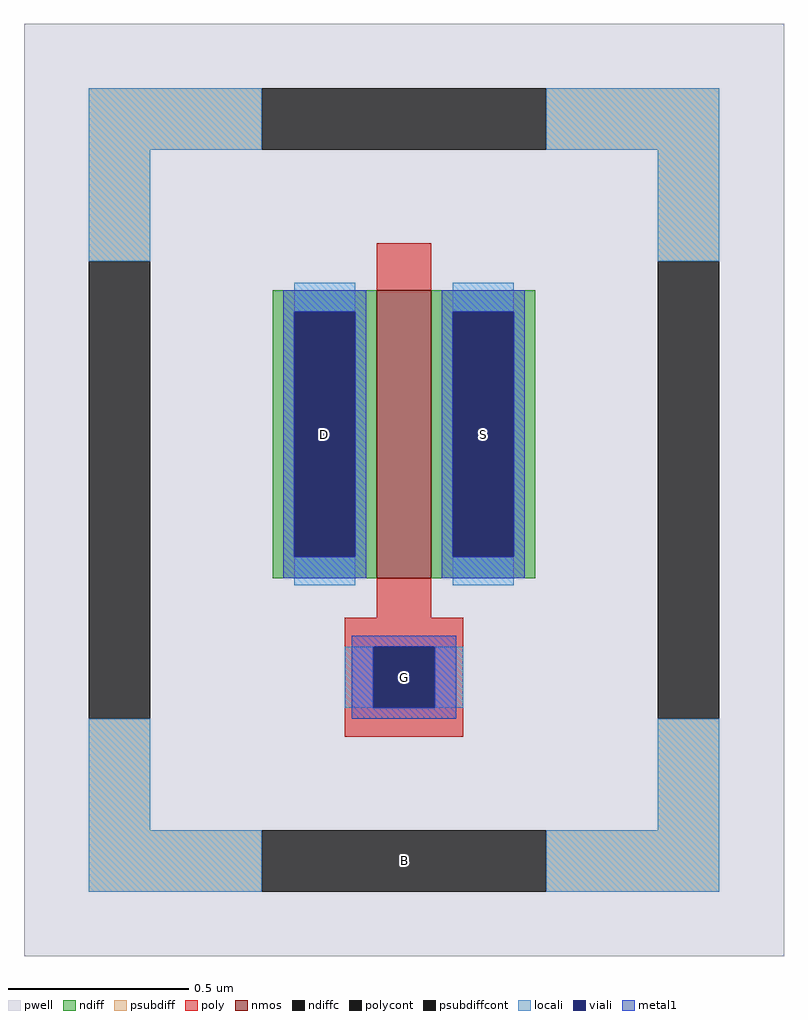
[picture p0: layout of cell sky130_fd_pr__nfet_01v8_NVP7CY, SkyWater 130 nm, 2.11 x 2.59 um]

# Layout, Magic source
magic
tech sky130A
magscale 1 2
<< pwell >>
rect -211 -259 211 259
<< nmos >>
rect -15 -49 15 111
<< ndiff >>
rect -73 99 -15 111
rect -73 -37 -61 99
rect -27 -37 -15 99
rect -73 -49 -15 -37
rect 15 99 73 111
rect 15 -37 27 99
rect 61 -37 73 99
rect 15 -49 73 -37
<< ndiffc >>
rect -61 -37 -27 99
rect 27 -37 61 99
<< psubdiff >>
rect -175 189 -79 223
rect 79 189 175 223
rect -175 127 -141 189
rect 141 127 175 189
rect -175 -189 -141 -127
rect 141 -189 175 -127
rect -175 -223 -79 -189
rect 79 -223 175 -189
<< psubdiffcont >>
rect -79 189 79 223
rect -175 -127 -141 127
rect 141 -127 175 127
rect -79 -223 79 -189
<< poly >>
rect -15 111 15 137
rect -15 -71 15 -49
rect -33 -87 33 -71
rect -33 -121 -17 -87
rect 17 -121 33 -87
rect -33 -137 33 -121
<< polycont >>
rect -17 -121 17 -87
<< locali >>
rect -175 189 -79 223
rect 79 189 175 223
rect -175 127 -141 189
rect 141 127 175 189
rect -61 99 -27 115
rect -61 -53 -27 -37
rect 27 99 61 115
rect 27 -53 61 -37
rect -33 -121 -17 -87
rect 17 -121 33 -87
rect -175 -189 -141 -127
rect 141 -189 175 -127
rect -175 -223 -79 -189
rect 79 -223 175 -189
<< viali >>
rect -61 -37 -27 99
rect 27 -37 61 99
rect -17 -121 17 -87
<< metal1 >>
rect -67 99 -21 111
rect -67 -37 -61 99
rect -27 -37 -21 99
rect -67 -49 -21 -37
rect 21 99 67 111
rect 21 -37 27 99
rect 61 -37 67 99
rect 21 -49 67 -37
rect -29 -87 29 -81
rect -29 -121 -17 -87
rect 17 -121 29 -87
rect -29 -127 29 -121
<< labels >>
rlabel psubdiffcont 0 -206 0 -206 0 B
port 1 nsew
rlabel ndiffc -44 31 -44 31 0 D
port 2 nsew
rlabel ndiffc 44 31 44 31 0 S
port 3 nsew
rlabel polycont 0 -104 0 -104 0 G
port 4 nsew
<< properties >>
string FIXED_BBOX -158 -206 158 206
string gencell sky130_fd_pr__nfet_01v8
string library sky130
string parameters w 0.8 l 0.15 m 1 nf 1 diffcov 100 polycov 100 guard 1 glc 1 grc 1 gtc 1 gbc 1 tbcov 100 rlcov 100 topc 0 botc 1 poverlap 0 doverlap 1 lmin 0.15 wmin 0.42 class mosfet compatible {sky130_fd_pr__nfet_01v8 sky130_fd_pr__nfet_01v8_lvt  sky130_fd_bs_flash__special_sonosfet_star  sky130_fd_pr__nfet_g5v0d10v5 sky130_fd_pr__nfet_05v0_nvt  sky130_fd_pr__nfet_03v3_nvt} full_metal 1 viasrc 100 viadrn 100 viagate 100 viagb 0 viagr 0 viagl 0 viagt 0 doports 1
<< end >>
